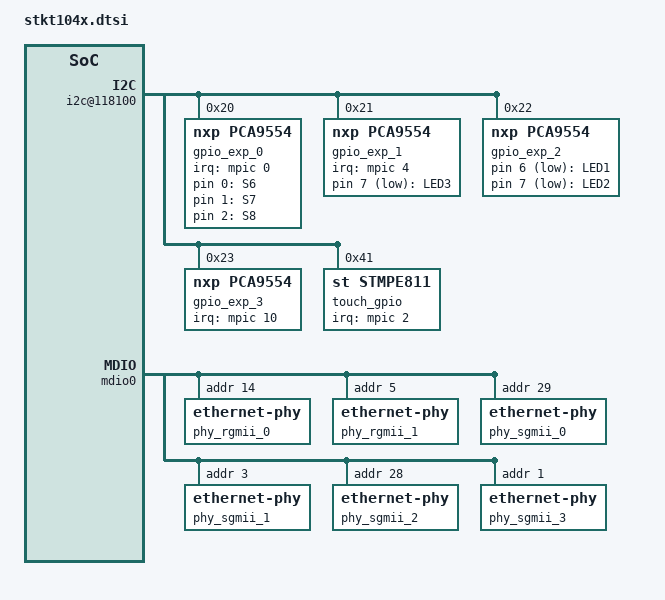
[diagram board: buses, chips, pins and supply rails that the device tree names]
// SPDX-License-Identifier: GPL-2.0-or-later
/*
 * Copyright (c) 2016-2023 TQ-Systems GmbH <license@tq-group.com>, D-82229 Seefeld, Germany.
 * Copyright 2014 Freescale Semiconductor Inc.
 * Author: Stefan Lange, Max Merchel, Gregor Herburger
 *
 */

#include <dt-bindings/net/ti-dp83867.h>
#include <dt-bindings/interrupt-controller/irq.h>
#include <dt-bindings/leds/leds-pca9532.h>
#include <dt-bindings/input/input.h>
#include <dt-bindings/gpio/gpio.h>

/ {
	gpio-leds {
		compatible = "gpio-leds";

		led1 {
			label = "LED1";
			gpios = <&gpio_exp_2 6 GPIO_ACTIVE_LOW>;
			linux,default-trigger = "heartbeat";
		};
		led2 {
			label = "LED2";
			gpios = <&gpio_exp_2 7 GPIO_ACTIVE_LOW>;
			linux,default-trigger = "heartbeat";
		};
		led3 {
			label = "LED3";
			gpios = <&gpio_exp_1 7 GPIO_ACTIVE_LOW>;
			linux,default-trigger = "heartbeat";
		};
	};

	gpio-keys {
		compatible = "gpio-keys";

		button1 {
			label = "S6";
			gpios = <&gpio_exp_0 0 GPIO_ACTIVE_HIGH>;
			linux,code = <KEY_1>;
		};
		button2 {
			label = "S7";
			gpios = <&gpio_exp_0 1 GPIO_ACTIVE_HIGH>;
			linux,code = <KEY_2>;
		};
		button3 {
			label = "S8";
			gpios = <&gpio_exp_0 2 GPIO_ACTIVE_HIGH>;
			linux,code = <KEY_3>;
		};
	};

	soc: soc@ffe000000 {
		i2c@118100 {
			pwm@60 {
				compatible = "nxp,pca9530";
				reg = <0x60>;
				led1@0 {
					label = "lcd";
					type = <PCA9532_TYPE_LED>;
					linux,default-trigger = "default-on";
				};
				led2@1 {
					label = "led2";
					type = <PCA9532_TYPE_LED>;
					linux,default-trigger = "heartbeat";
				};
			};
			gpio_exp_0: gpio@20 {
				compatible = "nxp,pca9554";
				reg = <0x20>;
				#gpio-cells = <2>;
				#interrupt-cells = <2>;
				interrupt-parent = <&mpic>;
				interrupts = <0 1 0 0>;
				interrupt-controller;
				gpio-controller;

			};
			gpio_exp_1: gpio@21 {
				compatible = "nxp,pca9554";
				reg = <0x21>;
				#gpio-cells = <2>;
				interrupt-parent = <&mpic>;
				interrupts = <4 1 0 0>;
				interrupt-controller;
				gpio-controller;
			};
			gpio_exp_2: gpio@22 {
				compatible = "nxp,pca9554";
				reg = <0x22>;
				gpio-controller;
				#gpio-cells = <2>;
			};
			gpio_exp_3: gpio@23 {
				compatible = "nxp,pca9554";
				reg = <0x23>;
				#gpio-cells = <2>;
				interrupt-parent = <&mpic>;
				interrupts = <10 1 0 0>;
				interrupt-controller;
			};
			touch_gpio: stmpe811@41 {
				compatible = "st,stmpe811";
				reg = <0x41>;
				interrupt-parent = <&mpic>;
				interrupts = <2 3 0 0>;
				gpio-controller;
				interrupt-controller;

				stmpe_touchscreen {
					compatible = "st,stmpe-ts";
					st,sample-time = <4>;
					st,mod-12b = <1>;
					st,ref-sel = <0>;
					st,adc-freq = <1>;
					st,ave-ctrl = <1>;
					st,touch-det-delay = <2>;
					st,settling = <2>;
					st,fraction-z = <7>;
					st,i-drive = <1>;
				};

				stmpe_gpio {
					compatible = "st,stmpe-gpio";
					gpio-controller;
					interrupt-controller;
				};
			};
		};
	};

};

&mdio0 {
	phy_rgmii_0: ethernet-phy@0e {
		reg = <0x0e>;
		ti,tx-internal-delay = <DP83867_RGMIIDCTL_2_50_NS>;
		ti,rx-internal-delay = <DP83867_RGMIIDCTL_2_00_NS>;
		ti,fifo-depth = <DP83867_PHYCR_FIFO_DEPTH_4_B_NIB>;
		ti,clk-output-sel = <DP83867_CLK_O_SEL_REF_CLK>;
	};

	phy_rgmii_1: ethernet-phy@05 {
		reg = <0x05>;
		ti,tx-internal-delay = <DP83867_RGMIIDCTL_2_50_NS>;
		ti,rx-internal-delay = <DP83867_RGMIIDCTL_2_00_NS>;
		ti,fifo-depth = <DP83867_PHYCR_FIFO_DEPTH_4_B_NIB>;
		ti,clk-output-sel = <DP83867_CLK_O_SEL_CHN_A_RCLK>;
	};

	phy_sgmii_0: ethernet-phy@1D {
		reg = <0x1D>;
	};

	phy_sgmii_1: ethernet-phy@03 {
		reg = <0x03>;
	};

	phy_sgmii_2: ethernet-phy@1C {
		reg = <0x1C>;
	};

	phy_sgmii_3: ethernet-phy@01 {
		reg = <0x01>;
	};
};
